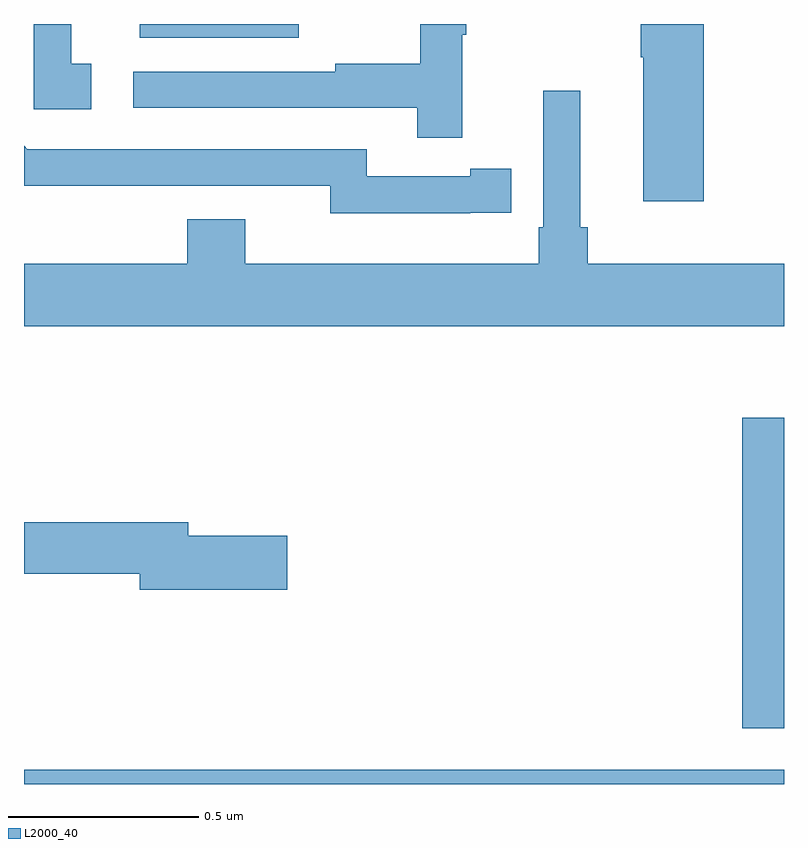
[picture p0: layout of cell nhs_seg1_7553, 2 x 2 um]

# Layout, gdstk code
import gdstk
lib = gdstk.Library(unit=1e-6, precision=1e-09)
def R(c, l, rs):  # rectangles x0, y0, x1, y1
    for r in rs: c.add(gdstk.rectangle(r[:2], r[2:], *l))
def P(c, l, *ps):  # polygons
    for p in ps: c.add(gdstk.Polygon(p, *l))
L2000_40 = (2000, 40)

nhs_seg1_7553 = lib.new_cell('nhs_seg1_7553')
R(nhs_seg1_7553, L2000_40, [(205,545.199,207,545.236), (206.89,545.346,207,546.163), (205.304,547.163,205.723,547.199)])
P(nhs_seg1_7553, L2000_40, [(206.153,547.171),(206.164,547.171),(206.164,547.199),(206.043,547.199),(206.043,547.094),(205.819,547.094),(205.819,547.074),(205.287,547.074),(205.287,546.978),(206.035,546.978),(206.035,546.9),(206.153,546.9)],
  [(206.789,547.199),(206.623,547.199),(206.623,547.111),(206.63,547.111),(206.63,546.732),(206.789,546.732)],
  [(205.177,547.095),(205.124,547.095),(205.124,547.199),(205.026,547.199),(205.026,546.975),(205.177,546.975)],
  [(207,546.568),(206.483,546.568),(206.483,546.664),(206.464,546.664),(206.464,547.024),(206.367,547.024),(206.367,546.664),(206.354,546.664),(206.354,546.568),(205.582,546.568),(205.582,546.685),(205.43,546.685),(205.43,546.568),(205,546.568),(205,546.404),(207,546.404)],
  [(206.174,546.702),(206.282,546.702),(206.282,546.818),(206.174,546.818),(206.174,546.798),(205.902,546.798),(205.902,546.87),(205.008,546.87),(205,546.878),(205,546.773),(205.346,546.773),(205.346,546.774),(205.806,546.774),(205.806,546.701),(206.174,546.701)],
  [(205.693,545.852),(205.432,545.852),(205.432,545.888),(205,545.888),(205,545.752),(205.304,545.752),(205.304,545.71),(205.693,545.71)])

lib.write_gds('nhs_seg1_7553.gds')
